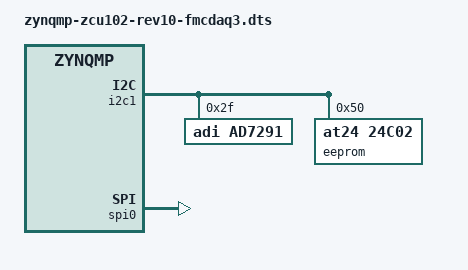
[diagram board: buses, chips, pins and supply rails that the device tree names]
// SPDX-License-Identifier: GPL-2.0
/*
 * Analog Devices AD-FMCDAQ3-EBZ
 * https://wiki.analog.com/resources/eval/user-guides/ad-fmcdaq3-ebz
 *
 * hdl_project: <daq3/zcu102>
 * board_revision: <>
 *
 * Copyright (C) 2015-2019 Analog Devices Inc.
 */

#include "zynqmp-zcu102-rev1.0.dts"
#include <dt-bindings/interrupt-controller/irq.h>
#include <dt-bindings/jesd204/adxcvr.h>

&i2c1 {
	i2c-mux@75 {
		i2c@0 {
			#address-cells = <1>;
			#size-cells = <0>;
			reg = <0>;
			/* HPC0_IIC */
			ad7291@2f {
				compatible = "adi,ad7291";
				reg = <0x2f>;
			};

			eeprom@50 {
				compatible = "at24,24c02";
				reg = <0x50>;
			};

		};
	};
};

/ {
	fpga_axi: fpga-axi@0 {
		interrupt-parent = <&gic>;
		compatible = "simple-bus";
		#address-cells = <0x1>;
		#size-cells = <0x1>;
		ranges = <0 0 0 0xffffffff>;

		rx_dma: rx-dmac@9c400000 {
			#dma-cells = <1>;
			compatible = "adi,axi-dmac-1.00.a";
			reg = <0x9c400000 0x10000>;
			interrupts = <0 109 IRQ_TYPE_LEVEL_HIGH>;
			clocks = <&zynqmp_clk 71>;

			adi,channels {
				#size-cells = <0>;
				#address-cells = <1>;

				dma-channel@0 {
					reg = <0>;
					adi,source-bus-width = <64>;
					adi,source-bus-type = <1>;
					adi,destination-bus-width = <64>;
					adi,destination-bus-type = <0>;
				};
			};
		};

		tx_dma: tx-dmac@9c420000 {
			#dma-cells = <1>;
			compatible = "adi,axi-dmac-1.00.a";
			reg = <0x9c420000 0x10000>;
			interrupts = <0 108 IRQ_TYPE_LEVEL_HIGH>;
			clocks = <&zynqmp_clk 71>;

			adi,channels {
				#size-cells = <0>;
				#address-cells = <1>;

				dma-channel@0 {
					reg = <0>;
					adi,source-bus-width = <128>;
					adi,source-bus-type = <0>;
					adi,destination-bus-width = <128>;
					adi,destination-bus-type = <1>;
				};
			};
		};

		axi_ad9680_core: axi-ad9680-hpc@84a10000 {
			compatible = "adi,axi-ad9680-1.0";
			reg = <0x84a10000 0x10000>;
			dmas = <&rx_dma 0>;
			dma-names = "rx";
			spibus-connected = <&adc0_ad9680>;
		};

		axi_ad9152_core: axi-ad9152-hpc@84a04000 {
			compatible = "adi,axi-ad9144-1.0";
			reg = <0x84a04000 0x10000>;
			dmas = <&tx_dma 0>;
			dma-names = "tx";
			spibus-connected = <&dac0_ad9152>;
			adi,axi-pl-fifo-enable;
		};

		axi_ad9680_jesd: axi-jesd204-rx@84aa0000 {
			compatible = "adi,axi-jesd204-rx-1.0";
			reg = <0x84aa0000 0x4000>;
			interrupts = <0 107 IRQ_TYPE_LEVEL_HIGH>;

			clocks = <&zynqmp_clk 71>, <&axi_ad9680_adxcvr 1>, <&axi_ad9680_adxcvr 0>;
			clock-names = "s_axi_aclk", "device_clk", "lane_clk";

			adi,octets-per-frame = <1>;
			adi,frames-per-multiframe = <32>;

			#clock-cells = <0>;
			clock-output-names = "jesd_adc_lane_clk";
		};

		axi_ad9680_adxcvr: axi-adxcvr-rx@84a50000 {
			compatible = "adi,axi-adxcvr-1.0";
			reg = <0x84a50000 0x1000>;

			clocks = <&clk0_ad9528 9>;
			clock-names = "conv";

			adi,sys-clk-select = <XCVR_CPLL>;
			adi,out-clk-select = <XCVR_REFCLK_DIV2>;
			adi,use-lpm-enable;

			#clock-cells = <1>;
			clock-output-names = "adc_gt_clk", "rx_out_clk";
		};

		axi_ad9152_jesd: axi-jesd204-tx@84a90000 {
			compatible = "adi,axi-jesd204-tx-1.0";
			reg = <0x84a90000 0x4000>;

			interrupts = <0 106 IRQ_TYPE_LEVEL_HIGH>;

			clocks = <&zynqmp_clk 71>, <&axi_ad9152_adxcvr 1>, <&axi_ad9152_adxcvr 0>;
			clock-names = "s_axi_aclk", "device_clk", "lane_clk";

			adi,octets-per-frame = <1>;
			adi,frames-per-multiframe = <32>;
			adi,converter-resolution = <16>;
			adi,bits-per-sample = <16>;
			adi,converters-per-device = <2>;

			#clock-cells = <0>;
			clock-output-names = "jesd_dac_lane_clk";
		};

		axi_ad9152_adxcvr: axi-adxcvr-tx@84a60000 {
			compatible = "adi,axi-adxcvr-1.0";
			reg = <0x84a60000 0x1000>;

			clocks = <&clk0_ad9528 4>;
			clock-names = "conv";

			adi,sys-clk-select = <XCVR_QPLL>;
			adi,out-clk-select = <XCVR_REFCLK_DIV2>;
			adi,use-lpm-enable;

			#clock-cells = <1>;
			clock-output-names = "dac_gt_clk", "tx_out_clk";
		};

		axi_sysid_0: axi-sysid-0@85000000 {
			compatible = "adi,axi-sysid-1.00.a";
			reg = <0x85000000 0x10000>;
		};
	};
};

&spi0 {
	status = "okay";
};

#define fmc_spi spi0

#include "adi-daq3.dtsi"

&adc0_ad9680 {
	powerdown-gpios = <&gpio 116 0>;
	fastdetect-a-gpios = <&gpio 113 0>;
	fastdetect-b-gpios = <&gpio 114 0>;
};

&dac0_ad9152 {
	txen-gpios = <&gpio 115 0>;
	irq-gpios = <&gpio 112 0>;
};

&clk0_ad9528 {
	status0-gpios = <&gpio 110 0>;
	status1-gpios = <&gpio 111 0>;
};
